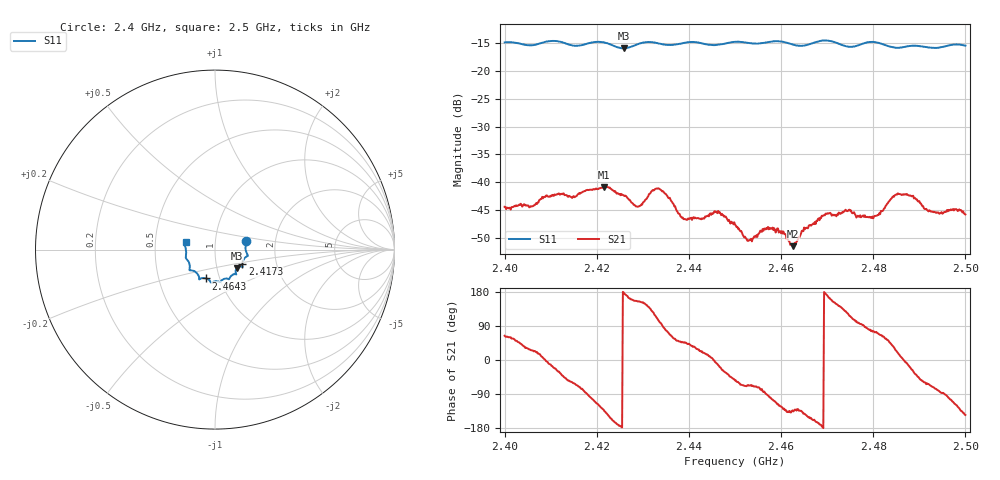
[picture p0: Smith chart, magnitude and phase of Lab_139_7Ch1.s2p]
# Hz S RI R 50
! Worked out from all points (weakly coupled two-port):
!   601 points, 2.4 GHz to 2.5 GHz, reference 50 ohm
!   highest |S21| = -40.84 dB at 2.4215 GHz (marker M1); lowest = -51.5 dB at 2.4627 GHz (marker M2)
!   lowest |S11| = -15.9 dB at 2.4258 GHz (marker M3), VSWR 1.38, Z = 62.3 - j13.3 ohm
!   |S11| at or under -10 dB: start of sweep to end of sweep
!   S12 and S22 are empty: the file has one direction only
!   S11 on the Smith chart (normalised r, x): 2.4 GHz: 1.41, +0.14; 2.4173 GHz: 1.34, -0.23; 2.4643 GHz: 0.86, -0.28; 2.5 GHz: 0.72, +0.06
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2.4e9  0.1739 0.0493  0.00264 0.0054  0 0  0 0
2.416667e9  0.1534 -0.0745  0.00192 -0.0078  0 0  0 0
2.417333e9  0.1526 -0.0819  0.00102 -0.00827  0 0  0 0
2.4215e9  0.1535 -0.0958  -0.00602 -0.0068  0 0  0 0
2.425833e9  0.1216 -0.1037  -0.00762 0.000221  0 0  0 0
2.429e9  0.1155 -0.1312  -0.00545 0.00259  0 0  0 0
2.433333e9  0.1131 -0.1365  -0.00237 0.0085  0 0  0 0
2.439e9  0.081 -0.1598  0.00318 0.0034  0 0  0 0
2.446e9  0.0474 -0.1646  0.00536 -0.000846  0 0  0 0
2.45e9  0.0293 -0.1806  0.00245 -0.00337  0 0  0 0
2.452833e9  0.0185 -0.1779  0.0012 -0.00271  0 0  0 0
2.457667e9  -0.0167 -0.1824  -0.000589 -0.00376  0 0  0 0
2.462667e9  -0.0338 -0.169  -0.00191 -0.00185  0 0  0 0
2.464333e9  -0.0499 -0.1607  -0.0024 -0.00249  0 0  0 0
2.466667e9  -0.0759 -0.1597  -0.00379 -0.00168  0 0  0 0
2.469667e9  -0.0879 -0.1664  -0.0052 0.000469  0 0  0 0
2.474333e9  -0.1 -0.1325  -0.00307 0.00455  0 0  0 0
2.480167e9  -0.1428 -0.1132  0.00126 0.00475  0 0  0 0
2.483333e9  -0.1406 -0.0901  0.00425 0.00514  0 0  0 0
2.487e9  -0.1554 -0.0566  0.00777 -0.000828  0 0  0 0
2.492333e9  -0.161 -0.0218  0.00217 -0.00509  0 0  0 0
2.5e9  -0.1637 0.0419  -0.00421 -0.00293  0 0  0 0
